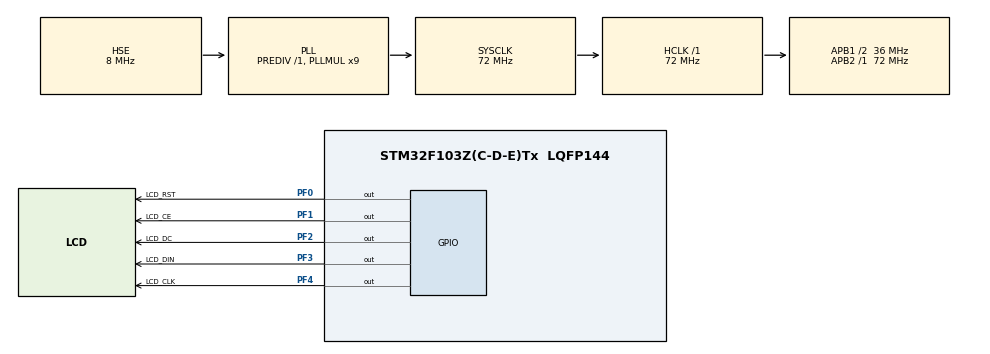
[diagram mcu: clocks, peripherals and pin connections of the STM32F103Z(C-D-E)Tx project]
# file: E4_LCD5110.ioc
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Mcu.Family=STM32F1
Mcu.Name=STM32F103Z(C-D-E)Tx
Mcu.Package=LQFP144
NVIC.PriorityGroup=NVIC_PRIORITYGROUP_4
OSC_IN.Mode=HSE-External-Oscillator
OSC_IN.Signal=RCC_OSC_IN
OSC_OUT.Mode=HSE-External-Oscillator
OSC_OUT.Signal=RCC_OSC_OUT
PA13.Mode=Serial_Wire
PA13.Signal=SYS_JTMS-SWDIO
PA14.Mode=Serial_Wire
PA14.Signal=SYS_JTCK-SWCLK
PC14-OSC32_IN.Mode=LSE-External-Oscillator
PC14-OSC32_IN.Signal=RCC_OSC32_IN
PC15-OSC32_OUT.Mode=LSE-External-Oscillator
PC15-OSC32_OUT.Signal=RCC_OSC32_OUT
PF0.GPIO_Label=LCD_RST
PF0.GPIO_PuPd=GPIO_NOPULL
PF0.GPIO_Speed=GPIO_SPEED_FREQ_LOW
PF0.PinState=GPIO_PIN_RESET
PF0.Signal=GPIO_Output
PF1.GPIO_Label=LCD_CE
PF1.GPIO_PuPd=GPIO_NOPULL
PF1.GPIO_Speed=GPIO_SPEED_FREQ_LOW
PF1.PinState=GPIO_PIN_RESET
PF1.Signal=GPIO_Output
PF2.GPIO_Label=LCD_DC
PF2.GPIO_PuPd=GPIO_NOPULL
PF2.GPIO_Speed=GPIO_SPEED_FREQ_LOW
PF2.PinState=GPIO_PIN_RESET
PF2.Signal=GPIO_Output
PF3.GPIO_Label=LCD_DIN
PF3.GPIO_PuPd=GPIO_NOPULL
PF3.GPIO_Speed=GPIO_SPEED_FREQ_LOW
PF3.PinState=GPIO_PIN_RESET
PF3.Signal=GPIO_Output
PF4.GPIO_Label=LCD_CLK
PF4.GPIO_PuPd=GPIO_NOPULL
PF4.GPIO_Speed=GPIO_SPEED_FREQ_LOW
PF4.PinState=GPIO_PIN_RESET
PF4.Signal=GPIO_Output
ProjectManager.HeapSize=0x200
ProjectManager.StackSize=0x400
ProjectManager.TargetToolchain=MDK-ARM V5.32
RCC.AHBFreq_Value=72000000
RCC.APB1CLKDivider=RCC_HCLK_DIV2
RCC.APB1Freq_Value=36000000
RCC.APB1TimFreq_Value=72000000
RCC.APB2Freq_Value=72000000
RCC.APB2TimFreq_Value=72000000
RCC.HCLKFreq_Value=72000000
RCC.PLLMUL=RCC_PLL_MUL9
RCC.PLLSourceVirtual=RCC_PLLSOURCE_HSE
RCC.SYSCLKFreq_VALUE=72000000
RCC.SYSCLKSource=RCC_SYSCLKSOURCE_PLLCLK
RCC.USBFreq_Value=72000000
board=custom

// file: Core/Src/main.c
/* USER CODE BEGIN Header */
/**
  ******************************************************************************
  * @file           : main.c
  * @brief          : Main program body
  ******************************************************************************
  * @attention
  *
  * Copyright (c) 2024 STMicroelectronics.
  * All rights reserved.
  *
  * This software is licensed under terms that can be found in the LICENSE file
  * in the root directory of this software component.
  * If no LICENSE file comes with this software, it is provided AS-IS.
  *
  ******************************************************************************
  */
/* USER CODE END Header */
#include "main.h"
#include "gpio.h"

/* USER CODE BEGIN Includes */
#include "font.h"
/* USER CODE END Includes */

/* USER CODE BEGIN PTD */
#define uchar unsigned char
#define uint unsigned int
/* USER CODE END PTD */

/* USER CODE BEGIN PD */
#define LCD_RST0 HAL_GPIO_WritePin(LCD_RST_GPIO_Port,LCD_RST_Pin,GPIO_PIN_RESET)
#define LCD_RST1 HAL_GPIO_WritePin(LCD_RST_GPIO_Port,LCD_RST_Pin,GPIO_PIN_SET)

#define LCD_CE0  HAL_GPIO_WritePin(LCD_CE_GPIO_Port,LCD_CE_Pin,GPIO_PIN_RESET)
#define LCD_CE1  HAL_GPIO_WritePin(LCD_CE_GPIO_Port,LCD_CE_Pin,GPIO_PIN_SET)

#define LCD_DC0  HAL_GPIO_WritePin(LCD_DC_GPIO_Port,LCD_DC_Pin,GPIO_PIN_RESET)
#define LCD_DC1  HAL_GPIO_WritePin(LCD_DC_GPIO_Port,LCD_DC_Pin,GPIO_PIN_SET)

#define LCD_DIN0 HAL_GPIO_WritePin(LCD_DIN_GPIO_Port,LCD_DIN_Pin,GPIO_PIN_RESET)
#define LCD_DIN1 HAL_GPIO_WritePin(LCD_DIN_GPIO_Port,LCD_DIN_Pin,GPIO_PIN_SET)

#define LCD_CLK0 HAL_GPIO_WritePin(LCD_CLK_GPIO_Port,LCD_CLK_Pin,GPIO_PIN_RESET)
#define LCD_CLK1 HAL_GPIO_WritePin(LCD_CLK_GPIO_Port,LCD_CLK_Pin,GPIO_PIN_SET)

/* USER CODE END PD */

void SystemClock_Config(void);
/* USER CODE BEGIN PFP */
void LCD_WriteByte(uchar dat, uchar command);
void LCD_Clear(void);
void LCD_Init(void);
void LCD_Set_XY(uchar X, uchar Y);
void LCD_WriteString(uchar X,uchar Y,char *s);

/* USER CODE END PFP */

/* USER CODE BEGIN 0 */
void LCD_WriteByte(uchar dat, uchar command)
{
    uchar i;
    LCD_CE0;                    // 使能芯片
    if (command == 0)           // 写命令
        LCD_DC0;
    else                        // 写数据
        LCD_DC1;

    for(i=0; i<8; i++)         // 发送一个字节
    {
        if(dat & 0x80)
            LCD_DIN1;
        else
            LCD_DIN0;
        LCD_CLK0;
        dat = dat << 1;
        LCD_CLK1;
    }
    LCD_CE1;                    // 禁止芯片
}

void LCD_Set_XY(uchar X, uchar Y)
{
    LCD_WriteByte(0x40 | Y, 0);    // Y轴地址
    LCD_WriteByte(0x80 | X, 0);    // X轴地址
}

void LCD_Clear(void)
{
    uchar i, j;
    for(i=0; i<6; i++)
    {
        LCD_Set_XY(0,i);
        for(j=0; j<84; j++)
            LCD_WriteByte(0x00, 1);
    }
}

void LCD_Init(void)
{
    LCD_RST0;                  // 复位LCD
    HAL_Delay(100);
    LCD_RST1;

    LCD_WriteByte(0x21, 0);    // 使用扩展指令集
    LCD_WriteByte(0xC8, 0);    // 设置LCD偏置电压
    LCD_WriteByte(0x06, 0);    // 温度校正
    LCD_WriteByte(0x13, 0);    // 1:48
    LCD_WriteByte(0x20, 0);    // 使用基本指令集
    LCD_WriteByte(0x0C, 0);    // 普通模式显示

    LCD_Clear();               // 清屏
}

void LCD_WriteChar(uchar x, uchar y, uchar c)
{
    uchar i;
    c -= 32;
    LCD_Set_XY(x, y);
    for(i=0; i<6; i++)
    {
        LCD_WriteByte(ASCII[c][i], 1);
    }
}

void LCD_WriteString(uchar X, uchar Y, char *s)
{
    while(*s)
    {
        LCD_WriteChar(X, Y, *s);
        s++;
        X += 6;
    }
}

/* USER CODE END 0 */

int main(void)
{

  /* MCU Configuration--------------------------------------------------------*/

  /* Reset of all peripherals, Initializes the Flash interface and the Systick. */
  HAL_Init();

  /* Configure the system clock */
  SystemClock_Config();

  /* Initialize all configured peripherals */
  MX_GPIO_Init();
  /* USER CODE BEGIN 2 */
	LCD_Init();
  HAL_Delay(100);

  LCD_WriteString(0, 0, "xidian");	//学校
	LCD_WriteString(0, 1, "xx");	//学院
	LCD_WriteString(0, 2, "xxx");		//专业
	LCD_WriteString(0, 3, "xxx");	//姓名
	LCD_WriteString(0, 4, "xxx");	//学号

  /* USER CODE END 2 */

  /* Infinite loop */
  while (1)
  {

  }
}

void SystemClock_Config(void)
{
  RCC_OscInitTypeDef RCC_OscInitStruct = {0};
  RCC_ClkInitTypeDef RCC_ClkInitStruct = {0};

  /** Initializes the RCC Oscillators according to the specified parameters
  * in the RCC_OscInitTypeDef structure.
  */
  RCC_OscInitStruct.OscillatorType = RCC_OSCILLATORTYPE_HSE;
  RCC_OscInitStruct.HSEState = RCC_HSE_ON;
  RCC_OscInitStruct.HSEPredivValue = RCC_HSE_PREDIV_DIV1;
  RCC_OscInitStruct.HSIState = RCC_HSI_ON;
  RCC_OscInitStruct.PLL.PLLState = RCC_PLL_ON;
  RCC_OscInitStruct.PLL.PLLSource = RCC_PLLSOURCE_HSE;
  RCC_OscInitStruct.PLL.PLLMUL = RCC_PLL_MUL9;
  if (HAL_RCC_OscConfig(&RCC_OscInitStruct) != HAL_OK)
  {
    Error_Handler();
  }

  /** Initializes the CPU, AHB and APB buses clocks
  */
  RCC_ClkInitStruct.ClockType = RCC_CLOCKTYPE_HCLK|RCC_CLOCKTYPE_SYSCLK
                              |RCC_CLOCKTYPE_PCLK1|RCC_CLOCKTYPE_PCLK2;
  RCC_ClkInitStruct.SYSCLKSource = RCC_SYSCLKSOURCE_PLLCLK;
  RCC_ClkInitStruct.AHBCLKDivider = RCC_SYSCLK_DIV1;
  RCC_ClkInitStruct.APB1CLKDivider = RCC_HCLK_DIV2;
  RCC_ClkInitStruct.APB2CLKDivider = RCC_HCLK_DIV1;

  if (HAL_RCC_ClockConfig(&RCC_ClkInitStruct, FLASH_LATENCY_2) != HAL_OK)
  {
    Error_Handler();
  }
}

void Error_Handler(void)
{
  __disable_irq();
  while (1)
  {
  }
}
